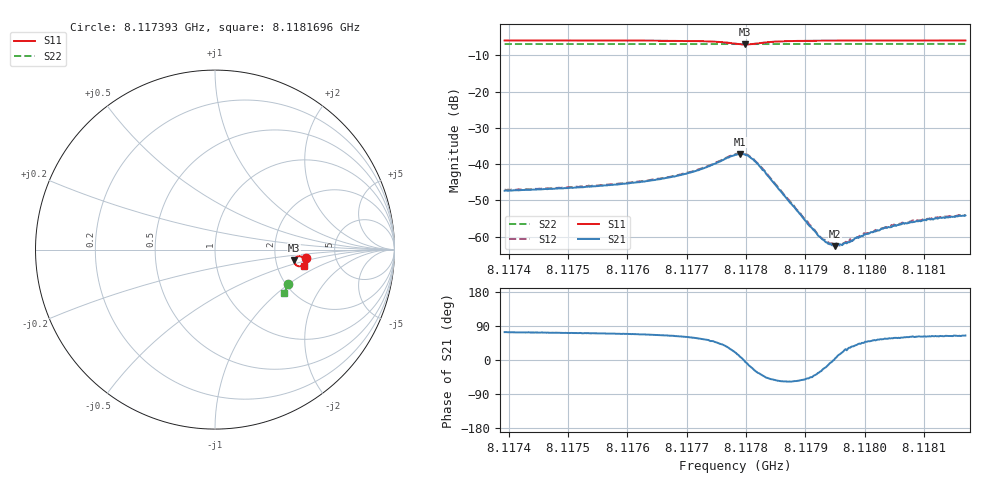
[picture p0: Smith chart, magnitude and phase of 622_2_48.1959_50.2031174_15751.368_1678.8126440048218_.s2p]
#  HZ  S  RI  R  50.00
! Rohde & Schwarz Vector Network Analyzer
! Rohde-Schwarz,ZNB20-2Port,1311601062101988,3.16
! Created: UTC 3/20/2024, 12:03:57 PM
! freq[Hz]  re:S11  im:S11  re:S21  im:S21  re:S12  im:S12  re:S22  im:S22
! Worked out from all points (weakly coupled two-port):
!   401 points, 8.117393 GHz to 8.1181696 GHz, reference 50 ohm
!   highest |S21| = -37.17 dB at 8.1177891 GHz (marker M1); lowest = -62.6 dB at 8.1179502 GHz (marker M2)
!   lowest |S11| = -7.0 dB at 8.1177988 GHz (marker M3), VSWR 2.61, Z = 127 - j19.2 ohm
!   |S11| at or under -10 dB: nowhere
!   |S22| runs from -6.9 to -6.8 dB; largest |S21 - S12| = 0.00051
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8.11739303e9  0.5048 -0.0455  0.00122 0.00412  0.00135 0.00424  0.4085 -0.1943
8.11752311e9  0.5029 -0.0577  0.00159 0.00454  0.00167 0.00466  0.4047 -0.2029
8.11760077e9  0.5009 -0.066  0.00196 0.00507  0.00203 0.00515  0.4025 -0.2077
8.11765319e9  0.4985 -0.0731  0.00253 0.00564  0.0026 0.00574  0.4007 -0.2112
8.1176862e9  0.4956 -0.0784  0.00322 0.00621  0.00326 0.00631  0.3996 -0.2134
8.11772114e9  0.4893 -0.0858  0.00459 0.00699  0.00473 0.00712  0.3981 -0.2159
8.11778133e9  0.4503 -0.0852  0.0127 0.00473  0.0128 0.00477  0.3947 -0.2188
8.1177891e9  0.4439 -0.0759  0.0137 0.00231  0.0138 0.00233  0.3945 -0.2188
8.1177988e9  0.442 -0.0605  0.0133 -0.00128  0.0136 -0.00109  0.3942 -0.2187
8.11780851e9  0.4487 -0.0463  0.0115 -0.00399  0.0117 -0.00408  0.3943 -0.2186
8.11782404e9  0.467 -0.0369  0.00723 -0.00554  0.00737 -0.00579  0.3949 -0.2194
8.11791141e9  0.4986 -0.0605  0.00092 -0.000927  0.000976 -0.000927  0.3932 -0.2261
8.117925e9  0.4993 -0.0634  0.000852 -0.000501  0.000845 -0.000516  0.3927 -0.227
8.11793083e9  0.4994 -0.0643  0.000837 -0.000349  0.000837 -0.000344  0.3926 -0.2274
8.11793859e9  0.4996 -0.0657  0.000776 -0.000177  0.00083 -0.000148  0.3923 -0.2278
8.11795024e9  0.4998 -0.0675  0.000739 5.75e-05  0.000784 4.16e-05  0.392 -0.2286
8.11795801e9  0.4999 -0.0687  0.000762 0.000207  0.000723 0.000217  0.3916 -0.229
8.11798131e9  0.5 -0.0722  0.000734 0.000538  0.000736 0.000561  0.391 -0.2307
8.11800072e9  0.5001 -0.0746  0.000711 0.000806  0.000754 0.000801  0.3903 -0.232
8.1180415e9  0.4997 -0.0794  0.000726 0.00114  0.000761 0.00117  0.3889 -0.2343
8.11808421e9  0.4993 -0.0837  0.00079 0.0014  0.000779 0.00144  0.3874 -0.2372
8.11816964e9  0.4981 -0.0917  0.000842 0.00178  0.000867 0.00178  0.3845 -0.2424
